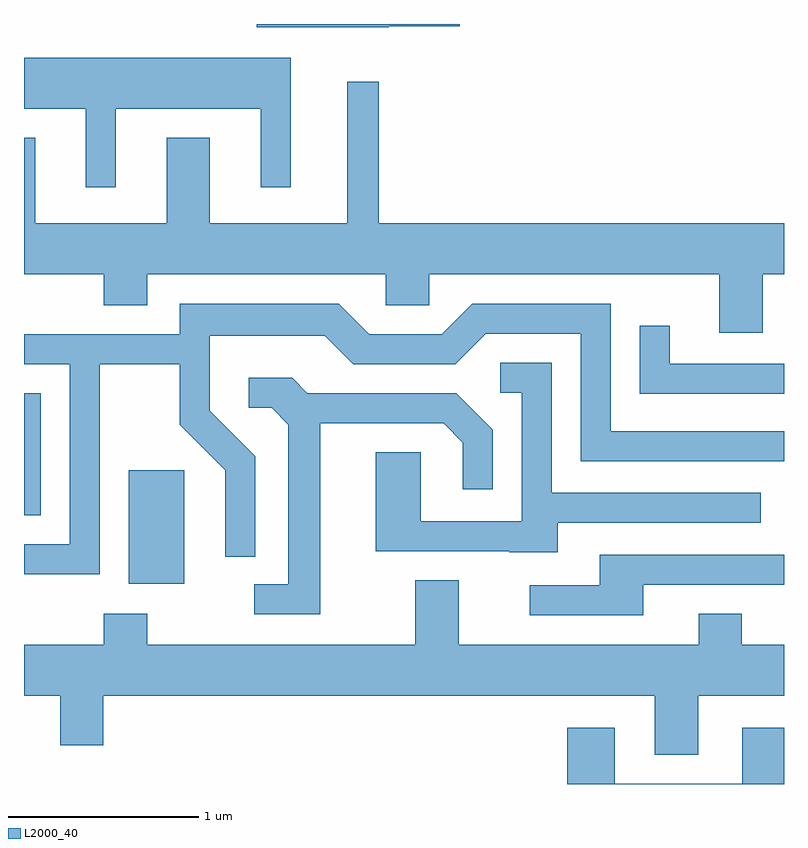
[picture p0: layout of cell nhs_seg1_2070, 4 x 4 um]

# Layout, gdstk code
import gdstk
lib = gdstk.Library(unit=1e-6, precision=1e-09)
def R(c, l, rs):  # rectangles x0, y0, x1, y1
    for r in rs: c.add(gdstk.rectangle(r[:2], r[2:], *l))
def P(c, l, *ps):  # polygons
    for p in ps: c.add(gdstk.Polygon(p, *l))
L2000_40 = (2000, 40)

nhs_seg1_2070 = lib.new_cell('nhs_seg1_2070')
R(nhs_seg1_2070, L2000_40, [(248.161,966.766,248.454,967.364), (247.611,967.126,247.699,967.769)])
P(nhs_seg1_2070, L2000_40, [(249.53,969.701),(249.904,969.701),(249.904,969.712),(248.836,969.712),(248.836,969.696),(249.53,969.696)],
  [(248.094,969.266),(248.856,969.266),(248.856,968.853),(249.014,968.853),(249.014,969.534),(247.611,969.534),(247.611,969.266),(247.936,969.266),(247.936,968.853),(248.094,968.853)],
  [(251.499,968.396),(251.611,968.396),(251.611,968.664),(249.479,968.664),(249.479,969.408),(249.311,969.408),(249.311,968.664),(248.589,968.664),(248.589,969.114),(248.361,969.114),(248.361,968.664),(247.669,968.664),(247.669,969.114),(247.611,969.114),(247.611,968.396),(248.031,968.396),(248.031,968.231),(248.259,968.231),(248.259,968.396),(249.516,968.396),(249.516,968.231),(249.744,968.231),(249.744,968.396),(251.271,968.396),(251.271,968.086),(251.499,968.086)],
  [(248.009,967.921),(248.431,967.921),(248.431,967.604),(248.671,967.364),(248.671,966.908),(248.829,966.908),(248.829,967.437),(248.589,967.677),(248.589,968.071),(249.194,968.071),(249.344,967.921),(249.882,967.921),(250.042,968.081),(250.541,968.081),(250.541,967.411),(251.611,967.411),(251.611,967.569),(250.699,967.569),(250.699,968.239),(249.969,968.239),(249.809,968.079),(249.427,968.079),(249.267,968.239),(248.431,968.239),(248.431,968.079),(247.611,968.079),(247.611,967.921),(247.851,967.921),(247.851,966.974),(247.611,966.974),(247.611,966.816),(248.009,966.816)],
  [(251.611,967.924),(251.009,967.924),(251.009,968.123),(250.851,968.123),(250.851,967.766),(251.611,967.766)],
  [(250.419,967.086),(251.488,967.086),(251.488,967.244),(250.389,967.244),(250.389,967.929),(250.118,967.929),(250.118,967.771),(250.231,967.771),(250.231,967.094),(249.699,967.094),(249.699,967.459),(249.461,967.459),(249.461,966.936),(250.165,966.936),(250.165,966.931),(250.419,966.931)],
  [(249.169,967.611),(249.819,967.611),(249.921,967.509),(249.921,967.263),(250.079,967.263),(250.079,967.577),(249.887,967.769),(249.102,967.769),(249.022,967.849),(248.793,967.849),(248.793,967.691),(248.914,967.691),(249.001,967.604),(249.001,966.764),(248.823,966.764),(248.823,966.606),(249.169,966.606)],
  [(250.869,966.761),(251.611,966.761),(251.611,966.919),(250.641,966.919),(250.641,966.759),(250.273,966.759),(250.273,966.601),(250.869,966.601)],
  [(251.159,966.176),(251.611,966.176),(251.611,966.444),(251.389,966.444),(251.389,966.609),(251.161,966.609),(251.161,966.444),(249.899,966.444),(249.899,966.784),(249.671,966.784),(249.671,966.444),(248.259,966.444),(248.259,966.609),(248.031,966.609),(248.031,966.444),(247.611,966.444),(247.611,966.176),(247.801,966.176),(247.801,965.916),(248.029,965.916),(248.029,966.176),(250.931,966.176),(250.931,965.866),(251.159,965.866)],
  [(251.611,966.009),(251.391,966.009),(251.391,965.714),(250.719,965.714),(250.719,966.009),(250.471,966.009),(250.471,965.712),(251.611,965.712)])

lib.write_gds('nhs_seg1_2070.gds')
